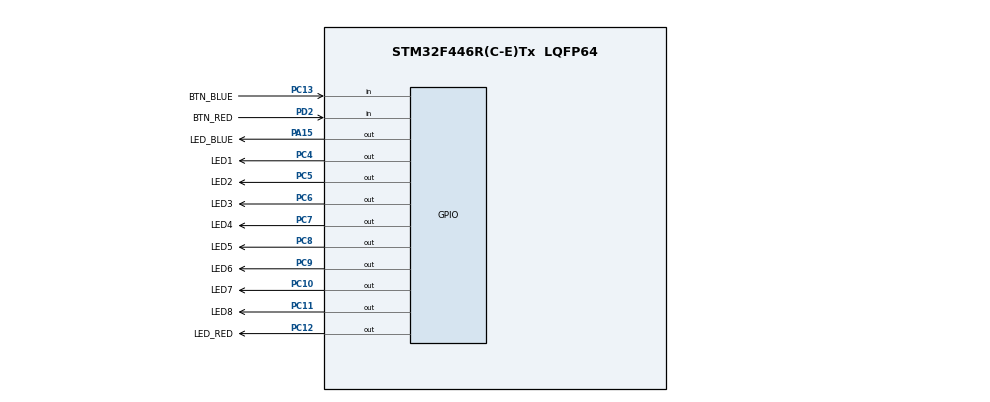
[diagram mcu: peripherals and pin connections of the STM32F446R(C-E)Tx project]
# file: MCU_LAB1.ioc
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Mcu.Family=STM32F4
Mcu.Name=STM32F446R(C-E)Tx
Mcu.Package=LQFP64
NVIC.PriorityGroup=NVIC_PRIORITYGROUP_4
PA15.GPIO_Label=LED_BLUE
PA15.Signal=GPIO_Output
PC10.GPIO_Label=LED7
PC10.Signal=GPIO_Output
PC11.GPIO_Label=LED8
PC11.Signal=GPIO_Output
PC12.GPIO_Label=LED_RED
PC12.Signal=GPIO_Output
PC13.GPIO_Label=BTN_BLUE
PC13.GPIO_PuPd=GPIO_NOPULL
PC13.Signal=GPIO_Input
PC4.GPIO_Label=LED1
PC4.Signal=GPIO_Output
PC5.GPIO_Label=LED2
PC5.Signal=GPIO_Output
PC6.GPIO_Label=LED3
PC6.Signal=GPIO_Output
PC7.GPIO_Label=LED4
PC7.Signal=GPIO_Output
PC8.GPIO_Label=LED5
PC8.Signal=GPIO_Output
PC9.GPIO_Label=LED6
PC9.Signal=GPIO_Output
PD2.GPIO_Label=BTN_RED
PD2.Signal=GPIO_Input
ProjectManager.HeapSize=0x200
ProjectManager.StackSize=0x400
ProjectManager.TargetToolchain=STM32CubeIDE
RCC.CortexFreq_Value=16000000
RCC.USBFreq_Value=96000000
RCC.VCOOutputFreq_Value=192000000
board=custom

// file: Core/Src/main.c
/* USER CODE BEGIN Header */
/**
  ******************************************************************************
  * @file           : main.c
  * @brief          : Main program body
  ******************************************************************************
  * @attention
  *
  * Copyright (c) 2024 STMicroelectronics.
  * All rights reserved.
  *
  * This software is licensed under terms that can be found in the LICENSE file
  * in the root directory of this software component.
  * If no LICENSE file comes with this software, it is provided AS-IS.
  *
  ******************************************************************************
  */
/* USER CODE END Header */
#include "main.h"

void SystemClock_Config(void);
static void MX_GPIO_Init(void);

/* USER CODE BEGIN 0 */

void add();
void not_add();
#define LED_PIN_MASK 0x0FF0 // 0000 1111 1111 0000

uint8_t counter = 0;

void add() {
	counter = (counter + 1) & 0xFF;
    GPIOC->BSRR = ((~counter << 4) & LED_PIN_MASK) << 16 | ((counter << 4) & LED_PIN_MASK);
}

void not_add() {
    counter = (counter - 1) & 0xFF;
    GPIOC->BSRR = ((~counter << 4) & LED_PIN_MASK) << 16 | ((counter << 4) & LED_PIN_MASK);
}

/* USER CODE END 0 */

int main(void)
{

  /* USER CODE BEGIN 1 */
	add();
  /* USER CODE END 1 */

  /* MCU Configuration--------------------------------------------------------*/

  /* Reset of all peripherals, Initializes the Flash interface and the Systick. */
  HAL_Init();

  /* Configure the system clock */
  SystemClock_Config();

  /* Initialize all configured peripherals */
  MX_GPIO_Init();

  /* Infinite loop */
  /* USER CODE BEGIN WHILE */

  // TYPE OF WORK --> 10 --> 1
//    GPIOC->ODR= x; -> changes all port at one momen	t
  #define PIN_MASK 0x0FF0  // Маска для пинов PIN4 .. PIN11

  while (1)
  {

//	  HAL_GPIO_WritePin(GPIOC, x & 0xFF, GPIO_PIN_SET);
//	  HAL_GPIO_WritePin(GPIOC, (~x) & 0xFF, GPIO_PIN_RESET);

	  if (HAL_GPIO_ReadPin(BTN_RED_GPIO_Port, BTN_RED_Pin) == GPIO_PIN_RESET) {
	            HAL_GPIO_WritePin(LED_RED_GPIO_Port, LED_RED_Pin, GPIO_PIN_SET);
		  	  	add();
	            HAL_Delay(200);
	        }
	        if (HAL_GPIO_ReadPin(BTN_BLUE_GPIO_Port, BTN_BLUE_Pin) == GPIO_PIN_RESET) {
	        	HAL_GPIO_WritePin(LED_BLUE_GPIO_Port, LED_BLUE_Pin, GPIO_PIN_SET);
	            not_add();
	            HAL_Delay(200);
	 }
	 HAL_GPIO_WritePin(LED_BLUE_GPIO_Port, LED_BLUE_Pin, GPIO_PIN_RESET);
	 HAL_GPIO_WritePin(LED_RED_GPIO_Port, LED_RED_Pin, GPIO_PIN_RESET);
	  // RED --> + | BLUE --> -
	  // RESET --> BTN IS PRESSED, inversed logic, plz check the scheme
	  // we have external pull up resistor, so select "no pull up or pull down resistor
//      if (HAL_GPIO_ReadPin(BTN_RED_GPIO_Port, BTN_RED_Pin) == GPIO_PIN_RESET) x++;
//
//	  if (HAL_GPIO_ReadPin(BTN_BLUE_GPIO_Port, BTN_BLUE_Pin) == GPIO_PIN_RESET) x--;
//

//
//	  GPIOC->ODR= x;
////	  GPIOC->BSRR = (0xFF << 4) << 16; // set 4..11 to 0
////	  GPIOC->BSRR = (x << 4) & (0xFF << 4);
////	  x = x & 0xFF;
////	  GPIOC->BSRR = ((~x << 4) & PIN_MASK) << 16 | ((x << 4) & PIN_MASK);
//	  x++;
//	  HAL_Delay(100);

//	  HAL_GPIO_WritePin(LED_BLUE_GPIO_Port, LED_BLUE_Pin, GPIO_PIN_SET);
//	  HAL_GPIO_WritePin(LED_RED_GPIO_Port, LED_RED_Pin, GPIO_PIN_SET);
//
//	  if (HAL_GPIO_ReadPin(BTN_RED_GPIO_Port, BTN_RED_Pin) == GPIO_PIN_RESET){
//
//	  }
//	  if (HAL_GPIO_ReadPin(BTN_BLUE_GPIO_Port, BTN_BLUE_Pin) == GPIO_PIN_RESET){
//
//	  }
//	  reg |= (1<<3)|(1<<8);

    /* USER CODE END WHILE */

  }
}

void SystemClock_Config(void)
{
  RCC_OscInitTypeDef RCC_OscInitStruct = {0};
  RCC_ClkInitTypeDef RCC_ClkInitStruct = {0};

  /** Configure the main internal regulator output voltage
  */
  __HAL_RCC_PWR_CLK_ENABLE();
  __HAL_PWR_VOLTAGESCALING_CONFIG(PWR_REGULATOR_VOLTAGE_SCALE3);

  /** Initializes the RCC Oscillators according to the specified parameters
  * in the RCC_OscInitTypeDef structure.
  */
  RCC_OscInitStruct.OscillatorType = RCC_OSCILLATORTYPE_HSI;
  RCC_OscInitStruct.HSIState = RCC_HSI_ON;
  RCC_OscInitStruct.HSICalibrationValue = RCC_HSICALIBRATION_DEFAULT;
  RCC_OscInitStruct.PLL.PLLState = RCC_PLL_NONE;
  if (HAL_RCC_OscConfig(&RCC_OscInitStruct) != HAL_OK)
  {
    Error_Handler();
  }

  /** Initializes the CPU, AHB and APB buses clocks
  */
  RCC_ClkInitStruct.ClockType = RCC_CLOCKTYPE_HCLK|RCC_CLOCKTYPE_SYSCLK
                              |RCC_CLOCKTYPE_PCLK1|RCC_CLOCKTYPE_PCLK2;
  RCC_ClkInitStruct.SYSCLKSource = RCC_SYSCLKSOURCE_HSI;
  RCC_ClkInitStruct.AHBCLKDivider = RCC_SYSCLK_DIV1;
  RCC_ClkInitStruct.APB1CLKDivider = RCC_HCLK_DIV1;
  RCC_ClkInitStruct.APB2CLKDivider = RCC_HCLK_DIV1;

  if (HAL_RCC_ClockConfig(&RCC_ClkInitStruct, FLASH_LATENCY_0) != HAL_OK)
  {
    Error_Handler();
  }
}

static void MX_GPIO_Init(void)
{
  GPIO_InitTypeDef GPIO_InitStruct = {0};

  /* GPIO Ports Clock Enable */
  __HAL_RCC_GPIOC_CLK_ENABLE();
  __HAL_RCC_GPIOA_CLK_ENABLE();
  __HAL_RCC_GPIOD_CLK_ENABLE();

  /*Configure GPIO pin Output Level */
  HAL_GPIO_WritePin(GPIOC, LED1_Pin|LED2_Pin|LED3_Pin|LED4_Pin
                          |LED5_Pin|LED6_Pin|LED7_Pin|LED8_Pin
                          |LED_RED_Pin, GPIO_PIN_RESET);

  /*Configure GPIO pin Output Level */
  HAL_GPIO_WritePin(LED_BLUE_GPIO_Port, LED_BLUE_Pin, GPIO_PIN_RESET);

  /*Configure GPIO pin : BTN_BLUE_Pin */
  GPIO_InitStruct.Pin = BTN_BLUE_Pin;
  GPIO_InitStruct.Mode = GPIO_MODE_INPUT;
  GPIO_InitStruct.Pull = GPIO_NOPULL;
  HAL_GPIO_Init(BTN_BLUE_GPIO_Port, &GPIO_InitStruct);

  /*Configure GPIO pins : LED1_Pin LED2_Pin LED3_Pin LED4_Pin
                           LED5_Pin LED6_Pin LED7_Pin LED8_Pin
                           LED_RED_Pin */
  GPIO_InitStruct.Pin = LED1_Pin|LED2_Pin|LED3_Pin|LED4_Pin
                          |LED5_Pin|LED6_Pin|LED7_Pin|LED8_Pin
                          |LED_RED_Pin;
  GPIO_InitStruct.Mode = GPIO_MODE_OUTPUT_PP;
  GPIO_InitStruct.Pull = GPIO_NOPULL;
  GPIO_InitStruct.Speed = GPIO_SPEED_FREQ_LOW;
  HAL_GPIO_Init(GPIOC, &GPIO_InitStruct);

  /*Configure GPIO pin : LED_BLUE_Pin */
  GPIO_InitStruct.Pin = LED_BLUE_Pin;
  GPIO_InitStruct.Mode = GPIO_MODE_OUTPUT_PP;
  GPIO_InitStruct.Pull = GPIO_NOPULL;
  GPIO_InitStruct.Speed = GPIO_SPEED_FREQ_LOW;
  HAL_GPIO_Init(LED_BLUE_GPIO_Port, &GPIO_InitStruct);

  /*Configure GPIO pin : BTN_RED_Pin */
  GPIO_InitStruct.Pin = BTN_RED_Pin;
  GPIO_InitStruct.Mode = GPIO_MODE_INPUT;
  GPIO_InitStruct.Pull = GPIO_NOPULL;
  HAL_GPIO_Init(BTN_RED_GPIO_Port, &GPIO_InitStruct);

}

void Error_Handler(void)
{
  __disable_irq();
  while (1)
  {
  }
}
